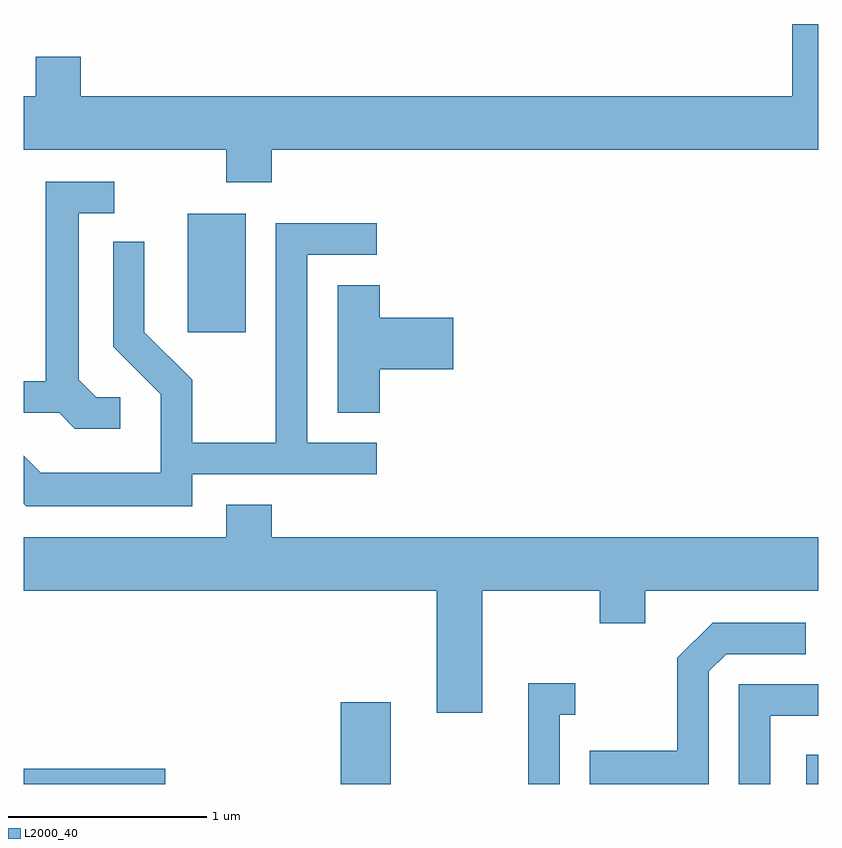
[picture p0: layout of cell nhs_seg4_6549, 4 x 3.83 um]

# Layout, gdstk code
import gdstk
lib = gdstk.Library(unit=1e-6, precision=1e-09)
def R(c, l, rs):  # rectangles x0, y0, x1, y1
    for r in rs: c.add(gdstk.rectangle(r[:2], r[2:], *l))
def P(c, l, *ps):  # polygons
    for p in ps: c.add(gdstk.Polygon(p, *l))
L2000_40 = (2000, 40)

nhs_seg4_6549 = lib.new_cell('nhs_seg4_6549')
R(nhs_seg4_6549, L2000_40, [(377.611,1295.982,378.324,1296.059), (379.206,1295.982,379.459,1296.394), (381.551,1295.982,381.611,1296.129), (378.436,1298.256,378.729,1298.854)])
P(nhs_seg4_6549, L2000_40, [(378.859,1299.176),(381.611,1299.176),(381.611,1299.808),(381.481,1299.808),(381.481,1299.444),(377.899,1299.444),(377.899,1299.644),(377.671,1299.644),(377.671,1299.444),(377.611,1299.444),(377.611,1299.176),(378.631,1299.176),(378.631,1299.011),(378.859,1299.011)],
  [(378.098,1297.929),(377.977,1297.929),(377.889,1298.017),(377.889,1298.856),(378.068,1298.856),(378.068,1299.014),(377.721,1299.014),(377.721,1298.009),(377.611,1298.009),(377.611,1297.851),(377.789,1297.851),(377.869,1297.771),(378.098,1297.771)],
  [(378.459,1297.541),(379.388,1297.541),(379.388,1297.699),(379.039,1297.699),(379.039,1298.646),(379.388,1298.646),(379.388,1298.804),(378.881,1298.804),(378.881,1297.699),(378.459,1297.699),(378.459,1298.017),(378.219,1298.257),(378.219,1298.713),(378.061,1298.713),(378.061,1298.184),(378.301,1297.944),(378.301,1297.549),(377.697,1297.549),(377.611,1297.635),(377.611,1297.394),(377.624,1297.381),(378.459,1297.381)],
  [(379.404,1298.071),(379.774,1298.071),(379.774,1298.329),(379.404,1298.329),(379.404,1298.494),(379.191,1298.494),(379.191,1297.851),(379.404,1297.851)],
  [(379.919,1296.956),(380.511,1296.956),(380.511,1296.791),(380.739,1296.791),(380.739,1296.956),(381.611,1296.956),(381.611,1297.224),(378.859,1297.224),(378.859,1297.389),(378.631,1297.389),(378.631,1297.224),(377.611,1297.224),(377.611,1296.956),(379.691,1296.956),(379.691,1296.341),(379.919,1296.341)],
  [(381.059,1296.549),(381.147,1296.636),(381.548,1296.636),(381.548,1296.794),(381.079,1296.794),(380.901,1296.617),(380.901,1296.149),(380.461,1296.149),(380.461,1295.982),(381.059,1295.982)],
  [(380.309,1296.331),(380.388,1296.331),(380.388,1296.489),(380.151,1296.489),(380.151,1295.982),(380.309,1295.982)],
  [(381.369,1296.326),(381.611,1296.326),(381.611,1296.484),(381.211,1296.484),(381.211,1295.982),(381.369,1295.982)])

lib.write_gds('nhs_seg4_6549.gds')
